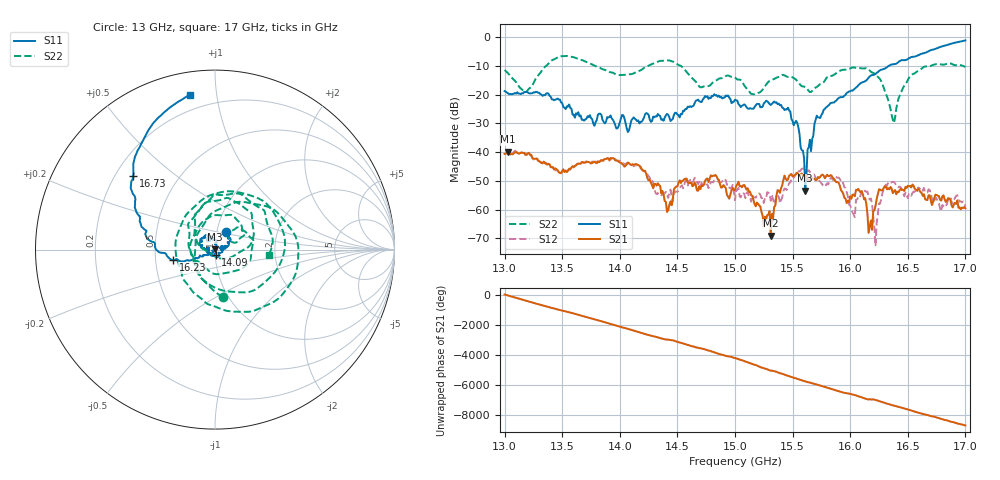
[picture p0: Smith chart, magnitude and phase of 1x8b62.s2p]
!Keysight Technologies,P9374A,MY57211807,A.19.30.04
!Date: Friday, May 08, 2026 14:30:14
!Correction: S11(C  2-Port  )
!S21(C  2-Port  )
!S12(C  2-Port  )
!S22(C  2-Port  )
!S2P File: Measurements: S11, S21, S12, S22:
# Hz S  dB  R 50
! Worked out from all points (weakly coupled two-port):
!   401 points, 13 GHz to 17 GHz, reference 50 ohm
!   highest |S21| = -39.86 dB at 13.03 GHz (marker M1); lowest = -69.1 dB at 15.31 GHz (marker M2)
!   lowest |S11| = -53.4 dB at 15.61 GHz (marker M3), VSWR 1.00, Z = 49.9 + j0.169 ohm
!   |S11| at or under -10 dB: start of sweep to 16.34 GHz
!   |S22| runs from -29.9 to -6.6 dB; largest |S21 - S12| = 0.0016
!   S11 on the Smith chart (normalised r, x): 13 GHz: 1.11, +0.22; 14.09 GHz: 1.01, -0.06; 16.23 GHz: 0.62, -0.08; 16.73 GHz: 0.27, +0.36; 17 GHz: 0.12, +0.84
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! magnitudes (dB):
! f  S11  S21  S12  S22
! 13 GHz  -18.8  -40.6  -40.7  -11.5
! 13.03 GHz  -19.5  -39.9  -39.9  -12.6
! 13.18 GHz  -19.2  -40.9  -40.9  -19.2
! 13.42 GHz  -21.7  -45.3  -45.3  -7.9
! 13.67 GHz  -28.8  -43.5  -43.8  -8.0
! 14.09 GHz  -30.8  -44.2  -44.3  -12.9
! 14.34 GHz  -27.2  -51.5  -54.9  -8.4
! 14.43 GHz  -27.9  -58.3  -54.0  -8.2
! 14.56 GHz  -25.7  -49.4  -51.3  -11.2
! 15 GHz  -21.8  -53.2  -56.7  -14.1
! 15.31 GHz  -23.6  -69.1  -57.0  -15.0
! 15.54 GHz  -29.8  -47.2  -46.3  -15.3
! 15.61 GHz  -53.4  -48.7  -46.5  -17.4
! 15.67 GHz  -35.5  -48.8  -47.4  -18.7
! 15.91 GHz  -21.0  -51.7  -49.4  -11.8
! 16.02 GHz  -18.6  -54.8  -61.0  -10.6
! 16.09 GHz  -16.0  -54.0  -55.0  -10.8
! 16.17 GHz  -13.7  -66.0  -56.5  -11.7
! 16.23 GHz  -12.4  -56.3  -64.6  -13.4
! 16.34 GHz  -9.9  -52.9  -50.8  -23.4
! 16.73 GHz  -4.2  -56.0  -56.9  -9.6
! 17 GHz  -1.2  -59.6  -58.9  -10.4
